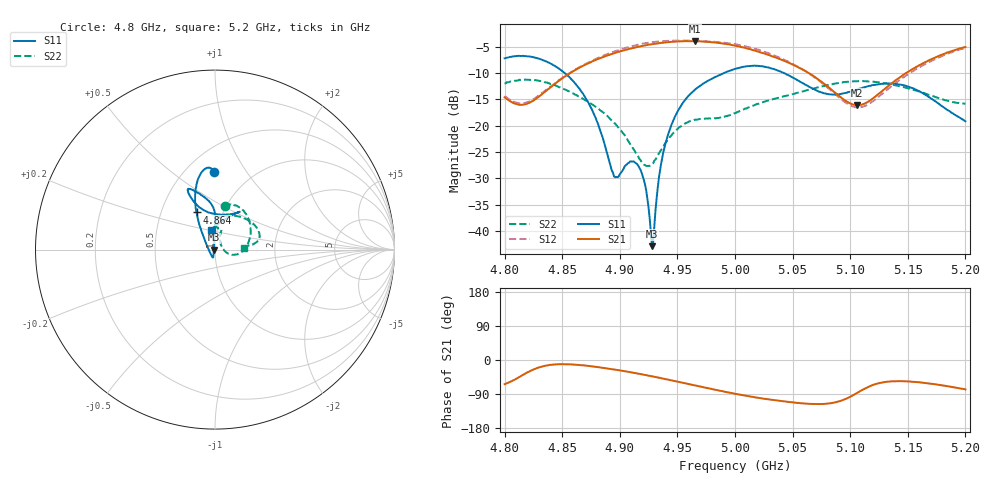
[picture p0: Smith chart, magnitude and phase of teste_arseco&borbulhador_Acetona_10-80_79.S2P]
! Network Analyzer HP8722D
! Hewlett-Packard
! Data name: Linha & Wilkinson
! Saver's name: Rodrigo Anjos
! Comments: Teste da utilização de aquisição
! continua pelo VNA HP8722D
! Time and date: 25/4/2025 15:55
!  Frequency  S11  S21  S12  S22
# HZ  S  MA R 50
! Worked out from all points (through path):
!   401 points, 4.8 GHz to 5.2 GHz, reference 50 ohm
!   highest |S21| = -3.97 dB at 4.965 GHz (marker M1); lowest = -16.1 dB at 5.106 GHz (marker M2)
!   lowest |S11| = -42.9 dB at 4.928 GHz (marker M3), VSWR 1.01, Z = 49.3 - j0.121 ohm
!   |S11| at or under -10 dB: 4.852 GHz to 4.991 GHz (138.8 MHz wide, 2.82 % of centre); 5.042 GHz to end of sweep
!   |S22| runs from -27.7 to -11.3 dB; largest |S21 - S12| = 1.2
!   S11 on the Smith chart (normalised r, x): 4.8 GHz: 0.68, +0.73; 4.864 GHz: 0.75, +0.33; 5.2 GHz: 0.94, +0.21
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4.8e9  0.4345 90.5  0.1852 -63.8  0.1909 69.8  0.2501 77.3
4.82e9  0.4529 96.8  0.1621 -32.3  0.1676 98.6  0.2724 61.9
4.864e9  0.2309 116.5  0.3499 -12.9  0.3532 121.0  0.1897 12.0
4.867e9  0.2078 118.3  0.3644 -13.9  0.3689 120.6  0.1823 8.7
4.88e9  0.1106 128.5  0.4242 -18.4  0.4344 118.2  0.1479 -5.4
4.895e9  0.03292 -172.8  0.4845 -24.9  0.5041 113.8  0.1066 -15.9
4.91e9  0.04564 -106.2  0.5384 -32.6  0.5653 107.2  0.06454 -14.0
4.917e9  0.03987 -103.2  0.5627 -36.6  0.59 103.5  0.04837 -1.7
4.922e9  0.02728 -106.6  0.5753 -39.4  0.6041 100.6  0.04208 16.0
4.928e9  0.007177 -170.1  0.5915 -43.2  0.6176 97.1  0.04309 41.1
4.93e9  0.01116 125.8  0.5965 -44.4  0.6209 95.7  0.04649 48.2
4.934e9  0.03235 99.3  0.6042 -46.8  0.6289 93.1  0.05464 58.8
4.939e9  0.06333 92.9  0.6146 -50.0  0.635 89.9  0.06683 65.9
4.946e9  0.1092 89.7  0.6241 -54.5  0.64 85.5  0.08406 70.3
4.965e9  0.2177 91.0  0.633 -67.0  0.6385 73.4  0.1136 71.8
5e9  0.3451 109.0  0.5723 -89.1  0.5927 50.8  0.1314 88.8
5.029e9  0.3561 115.0  0.4677 -103.8  0.4875 34.3  0.1729 85.9
5.067e9  0.2254 105.1  0.3014 -115.9  0.2978 23.6  0.2225 57.1
5.106e9  0.2199 64.4  0.1565 -86.9  0.1487 56.1  0.2632 24.8
5.134e9  0.2507 57.1  0.2417 -56.7  0.2272 88.6  0.2477 12.4
5.168e9  0.1877 69.0  0.4142 -61.8  0.3972 85.2  0.1957 7.0
5.2e9  0.1098 100.5  0.5559 -77.7  0.544 70.1  0.1612 3.8
